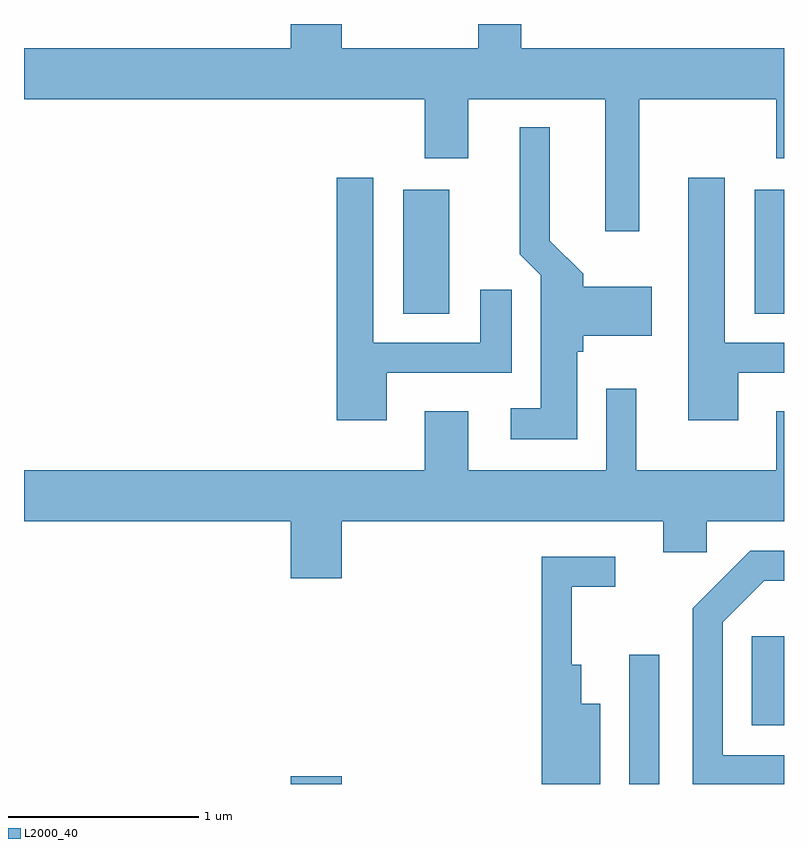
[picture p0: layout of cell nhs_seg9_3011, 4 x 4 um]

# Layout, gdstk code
import gdstk
lib = gdstk.Library(unit=1e-6, precision=1e-09)
def R(c, l, rs):  # rectangles x0, y0, x1, y1
    for r in rs: c.add(gdstk.rectangle(r[:2], r[2:], *l))
def P(c, l, *ps):  # polygons
    for p in ps: c.add(gdstk.Polygon(p, *l))
L2000_40 = (2000, 40)

nhs_seg9_3011 = lib.new_cell('nhs_seg9_3011')
R(nhs_seg9_3011, L2000_40, [(275.016,1990.432,275.284,1990.474), (276.796,1990.432,276.954,1991.113), (277.441,1990.741,277.611,1991.209), (275.606,1992.906,275.849,1993.559), (277.456,1992.906,277.611,1993.559)])
P(nhs_seg9_3011, L2000_40, [(276.849,1994.036),(277.571,1994.036),(277.571,1993.726),(277.611,1993.726),(277.611,1994.304),(276.229,1994.304),(276.229,1994.432),(276.001,1994.432),(276.001,1994.304),(275.284,1994.304),(275.284,1994.432),(275.016,1994.432),(275.016,1994.304),(273.611,1994.304),(273.611,1994.036),(275.721,1994.036),(275.721,1993.726),(275.949,1993.726),(275.949,1994.036),(276.671,1994.036),(276.671,1993.341),(276.849,1993.341)],
  [(276.524,1992.706),(276.554,1992.706),(276.554,1992.791),(276.914,1992.791),(276.914,1993.049),(276.554,1993.049),(276.554,1993.117),(276.379,1993.292),(276.379,1993.888),(276.221,1993.888),(276.221,1993.219),(276.331,1993.109),(276.331,1992.409),(276.173,1992.409),(276.173,1992.246),(276.524,1992.246)],
  [(275.519,1992.596),(276.179,1992.596),(276.179,1993.033),(276.011,1993.033),(276.011,1992.754),(275.449,1992.754),(275.449,1993.624),(275.256,1993.624),(275.256,1992.346),(275.519,1992.346)],
  [(277.369,1992.596),(277.611,1992.596),(277.611,1992.754),(277.299,1992.754),(277.299,1993.624),(277.106,1993.624),(277.106,1992.346),(277.369,1992.346)],
  [(275.284,1991.816),(276.976,1991.816),(276.976,1991.651),(277.204,1991.651),(277.204,1991.816),(277.611,1991.816),(277.611,1992.394),(277.571,1992.394),(277.571,1992.084),(276.834,1992.084),(276.834,1992.513),(276.676,1992.513),(276.676,1992.084),(275.949,1992.084),(275.949,1992.394),(275.721,1992.394),(275.721,1992.084),(273.611,1992.084),(273.611,1991.816),(275.016,1991.816),(275.016,1991.516),(275.284,1991.516)],
  [(277.611,1990.584),(277.289,1990.584),(277.289,1991.284),(277.507,1991.501),(277.611,1991.501),(277.611,1991.659),(277.434,1991.659),(277.131,1991.357),(277.131,1990.432),(277.611,1990.432)],
  [(276.644,1990.854),(276.544,1990.854),(276.544,1991.059),(276.494,1991.059),(276.494,1991.471),(276.723,1991.471),(276.723,1991.629),(276.336,1991.629),(276.336,1990.432),(276.644,1990.432)])

lib.write_gds('nhs_seg9_3011.gds')
